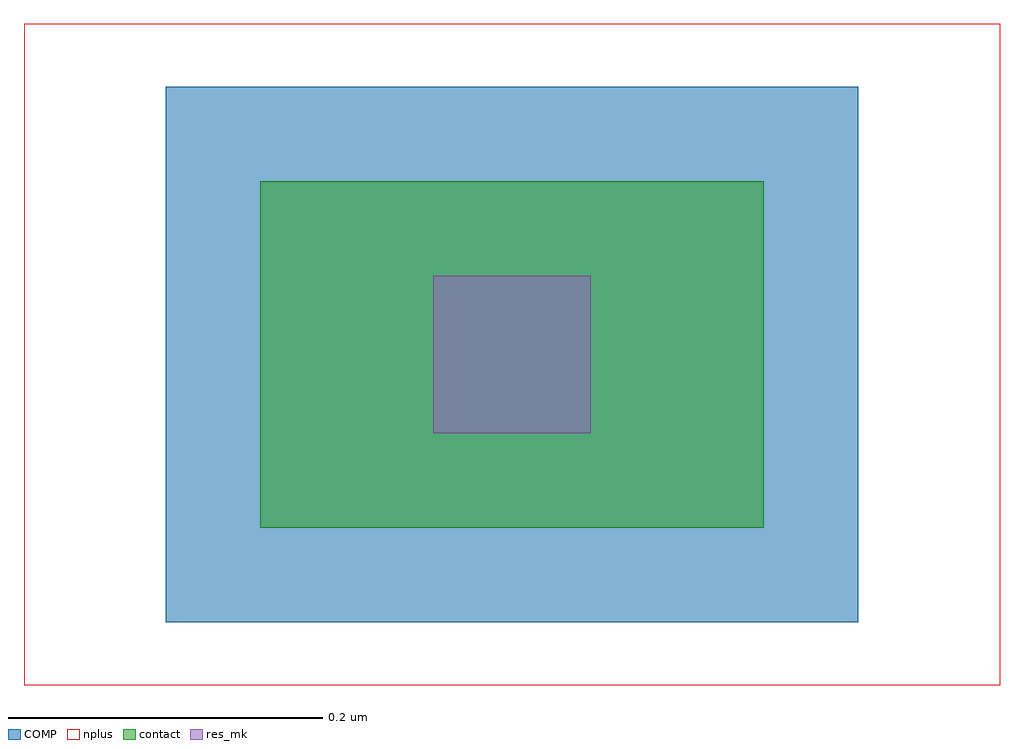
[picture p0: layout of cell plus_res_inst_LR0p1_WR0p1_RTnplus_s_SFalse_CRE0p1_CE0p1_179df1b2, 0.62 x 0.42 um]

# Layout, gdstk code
import gdstk
lib = gdstk.Library(unit=1e-6, precision=1e-09)
def R(c, l, rs):  # rectangles x0, y0, x1, y1
    for r in rs: c.add(gdstk.rectangle(r[:2], r[2:], *l))
COMP = (22, 0)
nplus = (32, 0)
contact = (33, 0)
res_mk = (110, 5)

rectangle_gdsfactorypcom = lib.new_cell('rectangle_gdsfactorypcomponentspshapesprectangle_S0p1_0_9a16bc71')
R(rectangle_gdsfactorypcom, res_mk, [(0,0,0.1,0.1)])

c_rectangle_gdsfactorypcom = lib.new_cell('rectangle_gdsfactorypcomponentspshapesprectangle_S0p300_58491b1b')
R(c_rectangle_gdsfactorypcom, COMP, [(0,0,0.3,0.1)])

c_rectangle_gdsfactorypcom_ = lib.new_cell('rectangle_gdsfactorypcomponentspshapesprectangle_S0p22__bfea7709')
R(c_rectangle_gdsfactorypcom_, contact, [(0,0,0.22,0.22)])

via_generator_xrm0p1_0p1 = lib.new_cell('via_generator_XRm0p1_0p1_YR0_0p1_VS0p22_0p22_VLcontact__76f51adf')
via_generator_xrm0p1_0p1.add(gdstk.Reference(c_rectangle_gdsfactorypcom_, (-0.11,-0.06)))

c_rectangle_gdsfactorypcom__ = lib.new_cell('rectangle_gdsfactorypcomponentspshapesprectangle_S0p339_7cf635e5')
R(c_rectangle_gdsfactorypcom__, COMP, [(0,0,0.34,0.34)])

via_stack_xrm0p1_0p1_yr0 = lib.new_cell('via_stack_XRm0p1_0p1_YR0_0p1_ML1_CS0p22_0p22_CE0p07_ME0_fcaa26b3')
via_stack_xrm0p1_0p1_yr0.add(gdstk.Reference(via_generator_xrm0p1_0p1, (0,0)))
via_stack_xrm0p1_0p1_yr0.add(gdstk.Reference(c_rectangle_gdsfactorypcom__, (-0.17,-0.12)))

c_rectangle_gdsfactorypcom___ = lib.new_cell('rectangle_gdsfactorypcomponentspshapesprectangle_S0p620_7a8eb898')
R(c_rectangle_gdsfactorypcom___, nplus, [(0,0,0.62,0.42)])

plus_res_inst_lr0p1_wr0p = lib.new_cell('plus_res_inst_LR0p1_WR0p1_RTnplus_s_SFalse_CRE0p1_CE0p1_179df1b2')
plus_res_inst_lr0p1_wr0p.add(gdstk.Reference(rectangle_gdsfactorypcom, (0,0)))
plus_res_inst_lr0p1_wr0p.add(gdstk.Reference(c_rectangle_gdsfactorypcom, (-0.1,0)))
r = gdstk.Reference(via_stack_xrm0p1_0p1_yr0, (0,0)); r.repetition = gdstk.Repetition(2, 1, v1=(0.1,0), v2=(0,0)); plus_res_inst_lr0p1_wr0p.add(r)
plus_res_inst_lr0p1_wr0p.add(gdstk.Reference(c_rectangle_gdsfactorypcom___, (-0.26,-0.16)))

lib.write_gds('plus_res_inst_LR0p1_WR0p1_RTnplus_s_SFalse_CRE0p1_CE0p1_179df1b2.gds')
